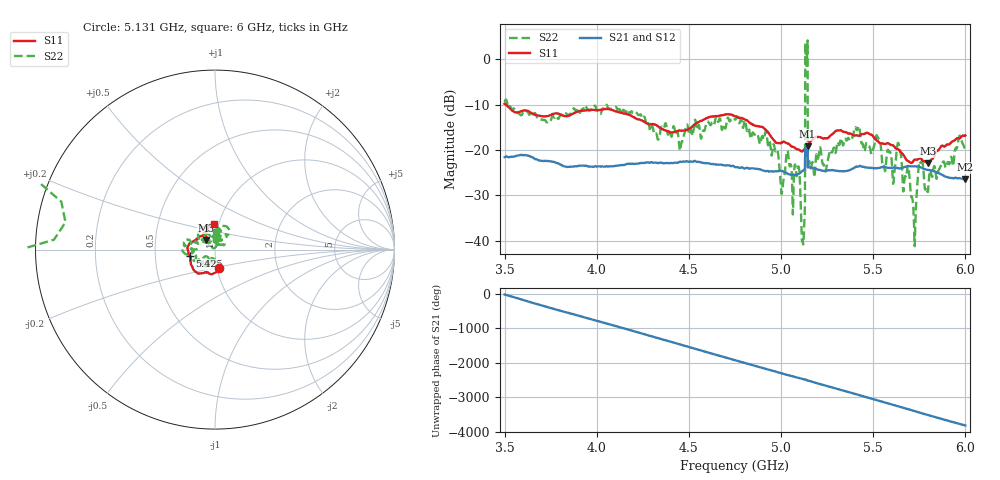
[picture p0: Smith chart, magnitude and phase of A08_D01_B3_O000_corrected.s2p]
! Created with skrf 1.9.0 (http://scikit-rf.org).
# Hz S RI R 50.0
!freq ReS11 ImS11 ReS21 ImS21 ReS12 ImS12 ReS22 ImS22
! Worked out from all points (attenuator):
!   1601 points, 3.5 GHz to 6 GHz, reference 50 ohm
!   highest |S21| = -19.23 dB at 5.144 GHz (marker M1); lowest = -26.5 dB at 6 GHz (marker M2)
!   lowest |S11| = -23.0 dB at 5.795 GHz (marker M3), VSWR 1.15, Z = 45.2 + j4.82 ohm
!   |S11| at or under -10 dB: 3.505 GHz to end of sweep
!   |S22| runs from -41.2 to 4.1 dB; largest |S21 - S12| = 0.0019
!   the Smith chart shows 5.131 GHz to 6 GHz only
!   S11 on the Smith chart (normalised r, x): 5.131 GHz: 1.02, -0.21; 5.425 GHz: 0.75, -0.05; 6 GHz: 0.95, +0.28
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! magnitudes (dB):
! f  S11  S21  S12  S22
! 3.5 GHz  -9.8  -21.6  -21.6  -9.5
! 3.917 GHz  -11.4  -23.5  -23.5  -11.1
! 4.334 GHz  -14.9  -22.9  -22.9  -17.7
! 4.75 GHz  -12.6  -23.8  -23.8  -13.3
! 4.97 GHz  -18.3  -24.7  -24.7  -20.3
! 5.005 GHz  -18.3  -24.6  -24.7  -29.4
! 5.034 GHz  -18.6  -25.3  -25.2  -20.2
! 5.086 GHz  -19.9  -25.4  -25.4  -25.7
! 5.117 GHz  -20.3  -24.6  -24.6  -40.1
! 5.131 GHz  -19.6  -19.7  -19.7  3.6
! 5.144 GHz  -19.2  -19.2  -19.2  4.1
! 5.158 GHz  -18.2  -23.9  -23.8  -23.7
! 5.167 GHz  -17.8  -23.9  -23.9  -23.1
! 5.425 GHz  -16.9  -23.6  -23.5  -15.2
! 5.558 GHz  -18.7  -23.8  -23.8  -23.4
! 5.584 GHz  -18.6  -23.9  -24.0  -20.2
! 5.611 GHz  -19.1  -23.9  -23.8  -26.9
! 5.641 GHz  -20.1  -24.1  -24.1  -19.1
! 5.72 GHz  -22.3  -23.6  -23.6  -35.3
! 5.756 GHz  -21.8  -23.9  -23.8  -22.8
! 5.795 GHz  -23.0  -24.4  -24.4  -29.3
! 6 GHz  -16.8  -26.5  -26.5  -20.1
